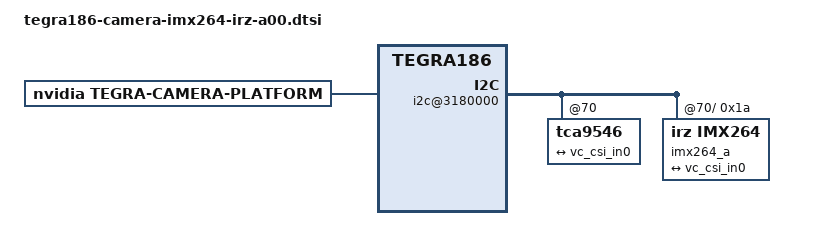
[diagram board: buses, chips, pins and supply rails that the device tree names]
/*
 * Copyright (c) 2016-2019, NVIDIA CORPORATION.  All rights reserved.
 *
 * This program is free software; you can redistribute it and/or modify
 * it under the terms of the GNU General Public License as published by
 * the Free Software Foundation; either version 2 of the License, or
 * (at your option) any later version.
 *
 * This program is distributed in the hope that it will be useful, but WITHOUT
 * ANY WARRANTY; without even the implied warranty of MERCHANTABILITY or
 * FITNESS FOR A PARTICULAR PURPOSE.  See the GNU General Public License for
 * more details.
 *
 * You should have received a copy of the GNU General Public License
 * along with this program.  If not, see <http://www.gnu.org/licenses/>.
 */

// Konovalov IRZ IMX264 driver v1.00

/ {
	host1x {
		vi@15700000 {
			num-channels = <1>;
			ports {
				#address-cells = <1>;
				#size-cells = <0>;
				port@0 {
					reg = <0>;
					liimx264_vi_in0: endpoint {
						port-index = <0>;
						bus-width = <2>;
						remote-endpoint = <&liimx264_csi_out0>;
					};
				};
			};
		};

		nvcsi@150c0000 {
			num-channels = <1>;
			#address-cells = <1>;
			#size-cells = <0>;
			channel@0 {
				reg = <0>;
				ports {
					#address-cells = <1>;
					#size-cells = <0>;
					port@0 {
						reg = <0>;
						liimx264_csi_in0: endpoint@0 {
							port-index = <0>;
							bus-width = <2>;
							remote-endpoint = <&liimx264_imx264_out0>;
						};
					};
					port@1 {
						reg = <1>;
						liimx264_csi_out0: endpoint@1 {
							remote-endpoint = <&liimx264_vi_in0>;
						};
					};
				};
			};
		};
	};

	i2c@3180000 {
		tca9546@70 {
			i2c@0 {
			imx264_a@1a {
				compatible = "irz,imx264";

				reg = <0x1a>;
				devnode = "video0";

                
                use_sensor_mode_id      = "false";
                sensor_model            = "imx264";

                num_lanes               = 2;
                trigger_mode            = "0";
                io_mode                 = "0";

                // ----------------------------------------------------
                // If you want to use GStreamer with nvarguscamerasrc
                // you have to adjust this settings
               

				/* Physical dimensions of sensor */
				physical_w = "18.5";
				physical_h = "17.6";

				/* Define any required hw resources needed by driver */
				/* ie. clocks, io pins, power sources */

				/* Defines number of frames to be dropped by driver internally after applying */
				/* sensor crop settings. Some sensors send corrupt frames after applying */
				/* crop co-ordinates */
				//post_crop_frame_drop = "0";

				/* Convert Gain to unit of dB (decibel) befor passing to kernel driver */
				//use_decibel_gain = "true";

				/* if true, delay gain setting by one frame to be in sync with exposure */
				//delayed_gain = "true";

				/* enable CID_SENSOR_MODE_ID for sensor modes selection */
				//use_sensor_mode_id = "true";

				/**
				* ==== Modes ====
				* A modeX node is required to support v4l2 driver
				* implementation with NVIDIA camera software stack
				*
				* == Signal properties ==
				*
				* phy_mode = "";
				* PHY mode used by the MIPI lanes for this device
				*
				* tegra_sinterface = "";
				* CSI Serial interface connected to tegra
				* Incase of virtual HW devices, use virtual
				* For SW emulated devices, use host
				*
				* pix_clk_hz = "";
				* Sensor pixel clock used for calculations like exposure and framerate
				*
				* readout_orientation = "0";
				* Based on camera module orientation.
				* Only change readout_orientation if you specifically
				* Program a different readout order for this mode
				*
				* == Image format Properties ==
				*
				* active_w = "";
				* Pixel active region width
				*
				* active_h = "";
				* Pixel active region height
				*
				* pixel_t = "";
				* The sensor readout pixel pattern
				*
				* line_length = "";
				* Pixel line length (width) for sensor mode.
				*
				* == Source Control Settings ==
				*
				* Gain factor used to convert fixed point integer to float
				* Gain range [min_gain/gain_factor, max_gain/gain_factor]
				* Gain step [step_gain/gain_factor is the smallest step that can be configured]
				* Default gain [Default gain to be initialized for the control.
                                *     use min_gain_val as default for optimal results]
				* Framerate factor used to convert fixed point integer to float
				* Framerate range [min_framerate/framerate_factor, max_framerate/framerate_factor]
				* Framerate step [step_framerate/framerate_factor is the smallest step that can be configured]
				* Default Framerate [Default framerate to be initialized for the control.
                                *     use max_framerate to get required performance]
				* Exposure factor used to convert fixed point integer to float
				* For convenience use 1 sec = 1000000us as conversion factor
				* Exposure range [min_exp_time/exposure_factor, max_exp_time/exposure_factor]
				* Exposure step [step_exp_time/exposure_factor is the smallest step that can be configured]
				* Default Exposure Time [Default exposure to be initialized for the control.
                                *     Set default exposure based on the default_framerate for optimal exposure settings]
				*
				* gain_factor = ""; (integer factor used for floating to fixed point conversion)
				* min_gain_val = ""; (ceil to integer)
				* max_gain_val = ""; (ceil to integer)
				* step_gain_val = ""; (ceil to integer)
				* default_gain = ""; (ceil to integer)
				* Gain limits for mode
				*
				* exposure_factor = ""; (integer factor used for floating to fixed point conversion)
				* min_exp_time = ""; (ceil to integer)
				* max_exp_time = ""; (ceil to integer)
				* step_exp_time = ""; (ceil to integer)
				* default_exp_time = ""; (ceil to integer)
				* Exposure Time limits for mode (sec)
				*
				* framerate_factor = ""; (integer factor used for floating to fixed point conversion)
				* min_framerate = ""; (ceil to integer)
				* max_framerate = ""; (ceil to integer)
				* step_framerate = ""; (ceil to integer)
				* default_framerate = ""; (ceil to integer)
				* Framerate limits for mode (fps)
				*
				* embedded_metadata_height = "";
				* Sensor embedded metadata height in units of rows.
				* If sensor does not support embedded metadata value should be 0.
				*/
				
                // ----------------------------------------------------

                // This node is needed by the Tegra framework.
                // You don't have to change any settings if just want to use the V4L API.
                mode0 {
                    num_lanes                = NUM_LANES;
                    tegra_sinterface         = "serial_c";
                    embedded_metadata_height = VC_MIPI_METADATA_H;
                    readout_orientation      = "0";

                    // ----------------------------------------------------
                    // If you want to use GStreamer with nvarguscamerasrc
                    // you have to adjust this settings. 
                    active_l                 = "0";
                    active_t                 = "0";
                    active_w                 = "0";
                    active_h                 = "0";
                    pixel_t                  = "bayer_rggb";

                    min_gain_val             = "0";         // mdB
                    max_gain_val             = "48000";     // mdB
                    step_gain_val            = "100";       // mdB
                    default_gain             = "0";         // mdB

                    min_exp_time             = "1";         // us
                    max_exp_time             = "1000000";   // us
                    step_exp_time            = "1";         // us
                    default_exp_time         = "10000";     // us

                    min_framerate            = "0";         // mHz
                    max_framerate            = "60000";     // mHz
                    step_framerate           = "100";       // mHz
                    default_framerate        = "60000";     // mHz
                    // ----------------------------------------------------

                    gain_factor              = "1000";
                    exposure_factor          = "1000000";
                    framerate_factor         = "1000";
                    inherent_gain            = "1";
                    min_hdr_ratio            = "1";
                    max_hdr_ratio            = "1";

                    line_length              = "0";
                    phy_mode                 = "DPHY";
                    discontinuous_clk        = "no";
                    mclk_khz                 = "24000";
                    pix_clk_hz               = "800000000";
                    mclk_multiplier          = "9.33";
                    cil_settletime           = "0";
                    dpcm_enable              = "false";           
                };

                ports {
                    #address-cells = <1>;
                    #size-cells = <0>;
                    port@0 {
                        reg = <0>;
                        vc_mipi_out0: endpoint {
                            port-index = <2>;
                            bus-width = <BUS_WIDTH>;
                            remote-endpoint = <&vc_csi_in0>;
                        };
                    };
                };
			};
		};
	};
};

/ {

	tegra-camera-platform {
		compatible = "nvidia, tegra-camera-platform";
		/**
		* Physical settings to calculate max ISO BW
		*
		* num_csi_lanes = <>;
		* Total number of CSI lanes when all cameras are active
		*
		* max_lane_speed = <>;
		* Max lane speed in Kbit/s
		*
		* min_bits_per_pixel = <>;
		* Min bits per pixel
		*
		* vi_peak_byte_per_pixel = <>;
		* Max byte per pixel for the VI ISO case
		*
		* vi_bw_margin_pct = <>;
		* Vi bandwidth margin in percentage
		*
		* max_pixel_rate = <>;
		* Max pixel rate in Kpixel/s for the ISP ISO case
		*
		* isp_peak_byte_per_pixel = <>;
		* Max byte per pixel for the ISP ISO case
		*
		* isp_bw_margin_pct = <>;
		* Isp bandwidth margin in percentage
		*/
		num_csi_lanes = <4>;
		max_lane_speed = <1500000>;
		min_bits_per_pixel = <10>;
		vi_peak_byte_per_pixel = <2>;
		vi_bw_margin_pct = <25>;
		isp_peak_byte_per_pixel = <5>;
		isp_bw_margin_pct = <25>;

		/**
		 * The general guideline for naming badge_info contains 3 parts, and is as follows,
		 * The first part is the camera_board_id for the module; if the module is in a FFD
		 * platform, then use the platform name for this part.
		 * The second part contains the position of the module, ex. "rear" or "front".
		 * The third part contains the last 6 characters of a part number which is found
		 * in the module's specsheet from the vender.
		 */
		modules {
			module0 {
				badge = "imx264_bottom_liimx264";
				position = "bottom";
				orientation = "0";
				drivernode0 {
					/* Declare PCL support driver (classically known as guid)  */
					pcl_id = "v4l2_sensor";
					/* Driver v4l2 device name */
					devname = "imx264 30-001a";
					/* Declare the device-tree hierarchy to driver instance */
					proc-device-tree = "/proc/device-tree/i2c@3180000/tca9546@70/i2c@0/imx264_a@1a";
				};
			};
		};
	};
};
